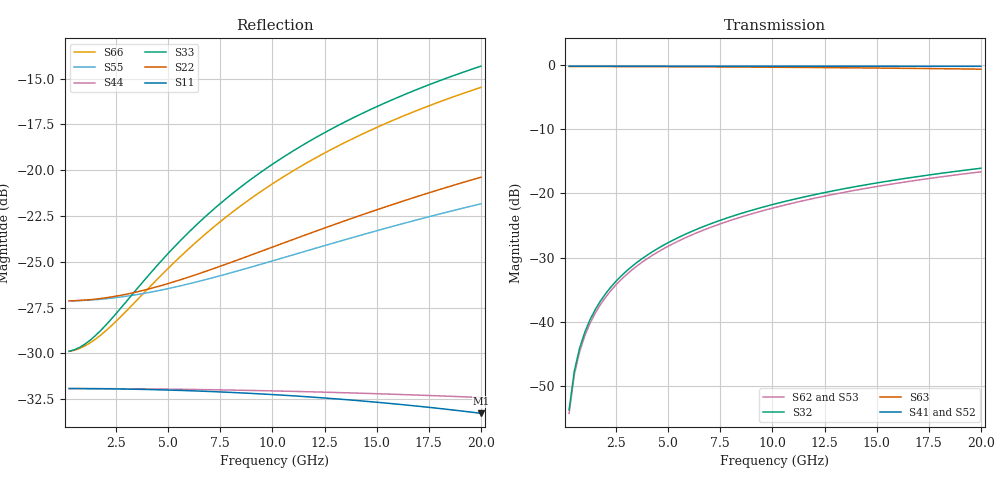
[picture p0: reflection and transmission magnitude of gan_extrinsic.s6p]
# GHz S RI R 50
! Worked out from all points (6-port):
!   80 points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, 250 MHz to 20 GHz, reference 50 ohm
!   strongest paths, dB at 250 MHz, 5.25 GHz, 10.25 GHz, 15.25 GHz, 20 GHz:
!     S41: -0.2, -0.2, -0.2, -0.2, -0.2
!     S63: -0.3, -0.3, -0.4, -0.5, -0.7
!     S52: -0.4, -0.4, -0.5, -0.5, -0.6
!     S32: -53.7, -27.3, -21.5, -18.3, -16.1
!     S62: -54.2, -27.8, -22.1, -18.8, -16.7
!     S53: -54.4, -28.0, -22.3, -19.0, -16.8
!   lowest |S11| = -33.3 dB at 20 GHz (marker M1), VSWR 1.04, Z = 52 - j0.905 ohm
!   |S11| at or under -10 dB: start of sweep to end of sweep
